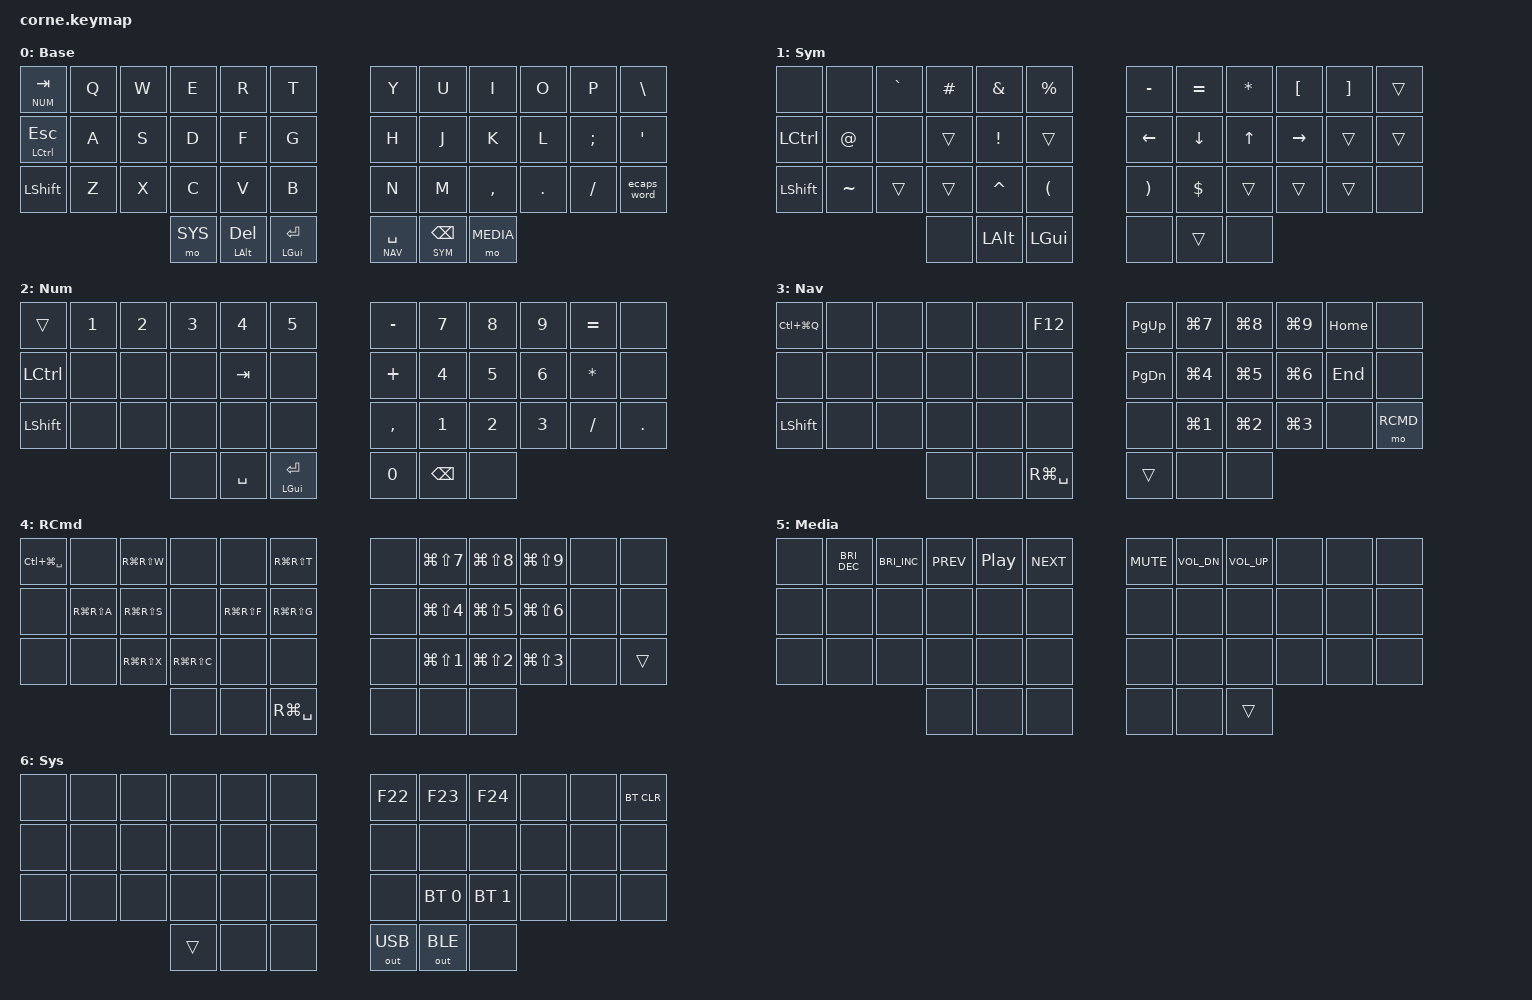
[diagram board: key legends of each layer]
#include <behaviors.dtsi>
#include <dt-bindings/zmk/keys.h>
#include <dt-bindings/zmk/bt.h>
#include <dt-bindings/zmk/outputs.h>

/* Tapping term 150 ms (Voyager default was 200).
 * Prefer tap on fast key-rolls for both mod-taps and layer-taps. */
&mt {
  tapping-term-ms = <150>;
  flavor = "tap-preferred";     /* ZMK default is hold-preferred */
};

&lt {
  tapping-term-ms = <150>;      /* flavor already tap-preferred */
};

/* Layer indices */
#define BASE 0
#define SYM  1
#define NUM  2
#define NAV   3
#define RCMD  4
#define MEDIA 5
#define SYS   6

/ {
  /*
   * Two inner thumb hold-taps (LGUI/RET, NAV/SPACE) use 250 ms via mt_thumb/lt_thumb.
   * The 150 ms global &mt/&lt cover the edge-column Tab/NUM and Esc/LCtrl keys
   * as well as the two middle thumbs (LALT/DEL and SYM/BSPC).
   * Flavor kept tap-preferred throughout.
   */
  behaviors {
    mt_thumb: mod_tap_thumb {
      compatible = "zmk,behavior-hold-tap";
      #binding-cells = <2>;
      tapping-term-ms = <250>;
      flavor = "tap-preferred";
      bindings = <&kp>, <&kp>;
    };
    lt_thumb: layer_tap_thumb {
      compatible = "zmk,behavior-hold-tap";
      #binding-cells = <2>;
      tapping-term-ms = <250>;
      flavor = "tap-preferred";
      bindings = <&mo>, <&kp>;
    };
    ecaps_word: ecaps_word {
      compatible = "zmk,behavior-ecaps-word";
      #binding-cells = <0>;
      continue-list = <UNDERSCORE BACKSPACE DELETE>;
      shift-list = <MINUS>;
      display-name = "Ext Caps Word";
    };
  };

  keymap {
    compatible = "zmk,keymap";

    base_layer {
      display-name = "Base";
      // ╭──────────┬──────┬──────┬──────┬──────┬──────╮   ╭──────┬──────┬──────┬──────┬──────┬────────╮
      // │ TAB/NUM  │  Q   │  W   │  E   │  R   │  T   │   │  Y   │  U   │  I   │  O   │  P   │   \    │
      // ├──────────┼──────┼──────┼──────┼──────┼──────┤   ├──────┼──────┼──────┼──────┼──────┼────────┤
      // │ ESC/LCTL │  A   │  S   │  D   │  F   │  G   │   │  H   │  J   │  K   │  L   │  ;   │   '    │
      // ├──────────┼──────┼──────┼──────┼──────┼──────┤   ├──────┼──────┼──────┼──────┼──────┼────────┤
      // │  LSHFT   │  Z   │  X   │  C   │  V   │  B   │   │  N   │  M   │  ,   │  .   │  /   │CAPSWRD │
      // ╰──────────┴──────┴─────┬┴─────┬┴─────┬┴─────┬╯   ╰┬─────┴┬─────┴┬─────┴──────┴──────┴────────╯
      //                         │ SYS  │ DEL/ │ RET/ │     │ SPC/ │ BSPC/│MEDIA │
      //                         │      │ LALT │ LGUI │     │ NAV  │ SYM  │      │
      //                         ╰──────┴──────┴──────╯     ╰──────┴──────┴──────╯
      bindings = <
        &lt NUM TAB    &kp Q  &kp W  &kp E  &kp R  &kp T        &kp Y          &kp U      &kp I      &kp O    &kp P     &kp BSLH
        &mt LCTRL ESC  &kp A  &kp S  &kp D  &kp F  &kp G        &kp H          &kp J      &kp K      &kp L    &kp SEMI  &kp SQT
        &kp LSHFT      &kp Z  &kp X  &kp C  &kp V  &kp B        &kp N          &kp M      &kp COMMA  &kp DOT  &kp FSLH  &ecaps_word
                              &mo SYS  &mt LALT DEL        &mt_thumb LGUI RET &lt_thumb NAV SPACE  &lt SYM BSPC        &mo MEDIA
      >;
    };

    sym_layer {
      display-name = "Sym";
      // Symbols + Vim arrows on HJKL.  ▽ = transparent (base key).
      // LCtrl / LShift / LAlt / LGui explicit for modifier combos.
      // ╭──────┬──────┬──────┬──────┬──────┬──────╮   ╭──────┬──────┬──────┬──────┬──────┬──────╮
      // │      │      │  `   │  #   │  &   │  %   │   │  -   │  =   │  *   │  [   │  ]   │ ▽ \  │
      // ├──────┼──────┼──────┼──────┼──────┼──────┤   ├──────┼──────┼──────┼──────┼──────┼──────┤
      // │ LCTL │  @   │      │ ▽ D  │  !   │ ▽ G  │   │  ←   │  ↓   │  ↑   │  →   │ ▽ ;  │ ▽ '  │
      // ├──────┼──────┼──────┼──────┼──────┼──────┤   ├──────┼──────┼──────┼──────┼──────┼──────┤
      // │ LSFT │  ~   │ ▽ X  │ ▽ C  │  ^   │  (   │   │  )   │  $   │ ▽ ,  │ ▽ .  │ ▽ /  │      │
      // ╰──────┴──────┴─────┬┴─────┬┴─────┬┴─────┬╯   ╰┬─────┴┬─────┴┬─────┴┬─────┴──────┴──────╯
      //                     │      │ LALT │ LGUI │     │      │ #### │      │
      //                     ╰──────┴──────┴──────╯     ╰──────┴──────┴──────╯
      bindings = <
        &none      &none      &kp GRAVE  &kp HASH  &kp AMPS   &kp PRCNT    &kp MINUS  &kp EQUAL  &kp ASTRK  &kp LBKT   &kp RBKT  &trans
        &kp LCTRL  &kp AT     &none      &trans    &kp EXCL   &trans       &kp LEFT   &kp DOWN   &kp UP     &kp RIGHT  &trans    &trans
        &kp LSHFT  &kp TILDE  &trans     &trans    &kp CARET  &kp LPAR     &kp RPAR   &kp DLLR   &trans     &trans     &trans    &none
                              &none      &kp LALT  &kp LGUI                &none      &trans     &none
      >;
    };

    num_layer {
      display-name = "Num";
      // Left: number row 1-5.  Right: numpad 789 / 456 / 123 with operators.
      // ╭──────┬──────┬──────┬──────┬──────┬──────╮   ╭──────┬──────┬──────┬──────┬──────┬──────╮
      // │ #### │  1   │  2   │  3   │  4   │  5   │   │  -   │  7   │  8   │  9   │  =   │      │
      // ├──────┼──────┼──────┼──────┼──────┼──────┤   ├──────┼──────┼──────┼──────┼──────┼──────┤
      // │ LCTL │      │      │      │ TAB  │      │   │  +   │  4   │  5   │  6   │  *   │      │
      // ├──────┼──────┼──────┼──────┼──────┼──────┤   ├──────┼──────┼──────┼──────┼──────┼──────┤
      // │ LSFT │      │      │      │      │      │   │  ,   │  1   │  2   │  3   │  /   │  .   │
      // ╰──────┴──────┴─────┬┴─────┬┴─────┬┴─────┬╯   ╰┬─────┴┬─────┴┬─────┴┬─────┴──────┴──────╯
      //                     │      │ SPC  │ RET/ │     │  0   │ BSPC │      │
      //                     │      │      │ LGUI │     │      │      │      │
      //                     ╰──────┴──────┴──────╯     ╰──────┴──────┴──────╯
      bindings = <
        &trans     &kp N1  &kp N2  &kp N3     &kp N4   &kp N5       &kp MINUS  &kp N7    &kp N8  &kp N9  &kp EQUAL  &none
        &kp LCTRL  &none   &none   &none      &kp TAB  &none        &kp PLUS   &kp N4    &kp N5  &kp N6  &kp ASTRK  &none
        &kp LSHFT  &none   &none   &none      &none    &none        &kp COMMA  &kp N1    &kp N2  &kp N3  &kp FSLH   &kp DOT
                           &none   &kp SPACE  &mt LGUI RET          &kp N0     &kp BSPC  &none
      >;
    };

    nav_layer {
      display-name = "Nav";
      // Navigation + workspace switching (Cmd+N).
      // Terminal = Cmd+Space, Lock = Ctrl+Cmd+Q.
      // ╭──────┬──────┬──────┬──────┬──────┬──────╮   ╭──────┬──────┬──────┬──────┬──────┬──────╮
      // │ LOCK │      │      │      │      │ F12  │   │ PGUP │ WS7  │ WS8  │ WS9  │ HOME │      │
      // ├──────┼──────┼──────┼──────┼──────┼──────┤   ├──────┼──────┼──────┼──────┼──────┼──────┤
      // │      │      │      │      │      │      │   │ PGDN │ WS4  │ WS5  │ WS6  │ END  │      │
      // ├──────┼──────┼──────┼──────┼──────┼──────┤   ├──────┼──────┼──────┼──────┼──────┼──────┤
      // │ LSFT │      │      │      │      │      │   │      │ WS1  │ WS2  │ WS3  │      │ RCMD │
      // ╰──────┴──────┴─────┬┴─────┬┴─────┬┴─────┬╯   ╰┬─────┴┬─────┴┬─────┴┬─────┴──────┴──────╯
      //                     │      │      │ Term │     │ #### │      │      │
      //                     ╰──────┴──────┴──────╯     ╰──────┴──────┴──────╯
      bindings = <
        &kp LC(LG(Q))  &none  &none  &none  &none  &kp F12          &kp PG_UP  &kp LG(N7)  &kp LG(N8)  &kp LG(N9)  &kp HOME  &none
        &none          &none  &none  &none  &none  &none            &kp PG_DN  &kp LG(N4)  &kp LG(N5)  &kp LG(N6)  &kp END   &none
        &kp LSHFT      &none  &none  &none  &none  &none            &none      &kp LG(N1)  &kp LG(N2)  &kp LG(N3)  &none     &mo RCMD
                              &none  &none  &kp RG(SPACE)           &trans     &none       &none
      >;
    };

    rcmd_layer {
      display-name = "RCmd";
      // App launchers (RGui+RShift+letter) + shifted workspace switching (Cmd+Shift+N).
      // Activated from Nav right pinky.
      // ╭──────┬──────┬──────┬──────┬──────┬──────╮   ╭──────┬──────┬──────┬──────┬──────┬──────╮
      // │Emoji │      │WhApps│      │      │Telegr│   │      │ ⇒WS7 │ ⇒WS8 │ ⇒WS9 │      │      │
      // ├──────┼──────┼──────┼──────┼──────┼──────┤   ├──────┼──────┼──────┼──────┼──────┼──────┤
      // │      │Files │Slack │      │Firefx│Linear│   │      │ ⇒WS4 │ ⇒WS5 │ ⇒WS6 │      │      │
      // ├──────┼──────┼──────┼──────┼──────┼──────┤   ├──────┼──────┼──────┼──────┼──────┼──────┤
      // │      │      │ScShot│Chrome│      │      │   │      │ ⇒WS1 │ ⇒WS2 │ ⇒WS3 │      │ #### │
      // ╰──────┴──────┴─────┬┴─────┬┴─────┬┴─────┬╯   ╰┬─────┴┬─────┴┬─────┴┬─────┴──────┴──────╯
      //                     │      │      │ Term │     │      │      │      │
      //                     ╰──────┴──────┴──────╯     ╰──────┴──────┴──────╯
      bindings = <
        &kp LC(LG(SPACE))  &none  &kp RG(RS(W))  &none  &none  &kp RG(RS(T))    &none  &kp LG(LS(N7))  &kp LG(LS(N8))  &kp LG(LS(N9))  &none  &none
        &none  &kp RG(RS(A))  &kp RG(RS(S))  &none  &kp RG(RS(F))  &kp RG(RS(G))    &none  &kp LG(LS(N4))  &kp LG(LS(N5))  &kp LG(LS(N6))  &none  &none
        &none  &none  &kp RG(RS(X))  &kp RG(RS(C))  &none  &none    &none  &kp LG(LS(N1))  &kp LG(LS(N2))  &kp LG(LS(N3))  &none  &trans
                              &none  &none  &kp RG(SPACE)    &none  &none           &none
      >;
    };

    media_layer {
      display-name = "Media";
      // Media controls management. Hold right outer thumb to activate.
      // ╭──────┬──────┬──────┬──────┬──────┬──────╮   ╭──────┬──────┬──────┬──────┬──────┬──────╮
      // │      │ BRID │ BRIU │ PREV │ PLAY │ NEXT │   │ MUTE │ VOLD │ VOLU │      │      │      │
      // ├──────┼──────┼──────┼──────┼──────┼──────┤   ├──────┼──────┼──────┼──────┼──────┼──────┤
      // │      │      │      │      │      │      │   │      │      │      │      │      │      │
      // ├──────┼──────┼──────┼──────┼──────┼──────┤   ├──────┼──────┼──────┼──────┼──────┼──────┤
      // │      │      │      │      │      │      │   │      │      │      │      │      │      │
      // ╰──────┴──────┴─────┬┴─────┬┴─────┬┴─────┬╯   ╰┬─────┴┬─────┴┬─────┴┬─────┴──────┴──────╯
      //                     │      │      │      │     │      │      │ #### │
      //                     ╰──────┴──────┴──────╯     ╰──────┴──────┴──────╯
      bindings = <
        &none  &kp C_BRI_DEC  &kp C_BRI_INC  &kp C_PREV  &kp C_PP  &kp C_NEXT    &kp C_MUTE  &kp C_VOL_DN  &kp C_VOL_UP  &none   &none  &none
        &none  &none          &none          &none       &none     &none         &none       &none         &none         &none   &none  &none
        &none  &none          &none          &none       &none     &none         &none       &none         &none         &none   &none  &none
                                             &none       &none     &none         &none       &none         &trans
      >;
    };

    sys_layer {
      display-name = "Sys";
      // System: dongle connections management. Hold left outer thumb to activate.
      // ╭──────┬──────┬──────┬──────┬──────┬──────╮   ╭──────┬──────┬──────┬──────┬──────┬──────╮
      // │      │      │      │      │      │      │   │DGLOFF│ DGLD │ DGLU │      │      │BTCLR │
      // ├──────┼──────┼──────┼──────┼──────┼──────┤   ├──────┼──────┼──────┼──────┼──────┼──────┤
      // │      │      │      │      │      │      │   │      │      │      │      │      │      │
      // ├──────┼──────┼──────┼──────┼──────┼──────┤   ├──────┼──────┼──────┼──────┼──────┼──────┤
      // │      │      │      │      │      │      │   │      │ BT1  │ BT2  │      │      │      │
      // ╰──────┴──────┴─────┬┴─────┬┴─────┬┴─────┬╯   ╰┬─────┴┬─────┴┬─────┴┬─────┴──────┴──────╯
      //                     │ #### │      │      │     │ USB  │ BLE  │      │
      //                     ╰──────┴──────┴──────╯     ╰──────┴──────┴──────╯
      bindings = <
        &none  &none  &none  &none   &none  &none    &kp F22       &kp F23       &kp F24       &none  &none  &bt BT_CLR
        &none  &none  &none  &none   &none  &none    &none         &none         &none         &none  &none  &none
        &none  &none  &none  &none   &none  &none    &none         &bt BT_SEL 0  &bt BT_SEL 1  &none  &none  &none
                             &trans  &none  &none    &out OUT_USB  &out OUT_BLE  &none
      >;
    };
  };
};
